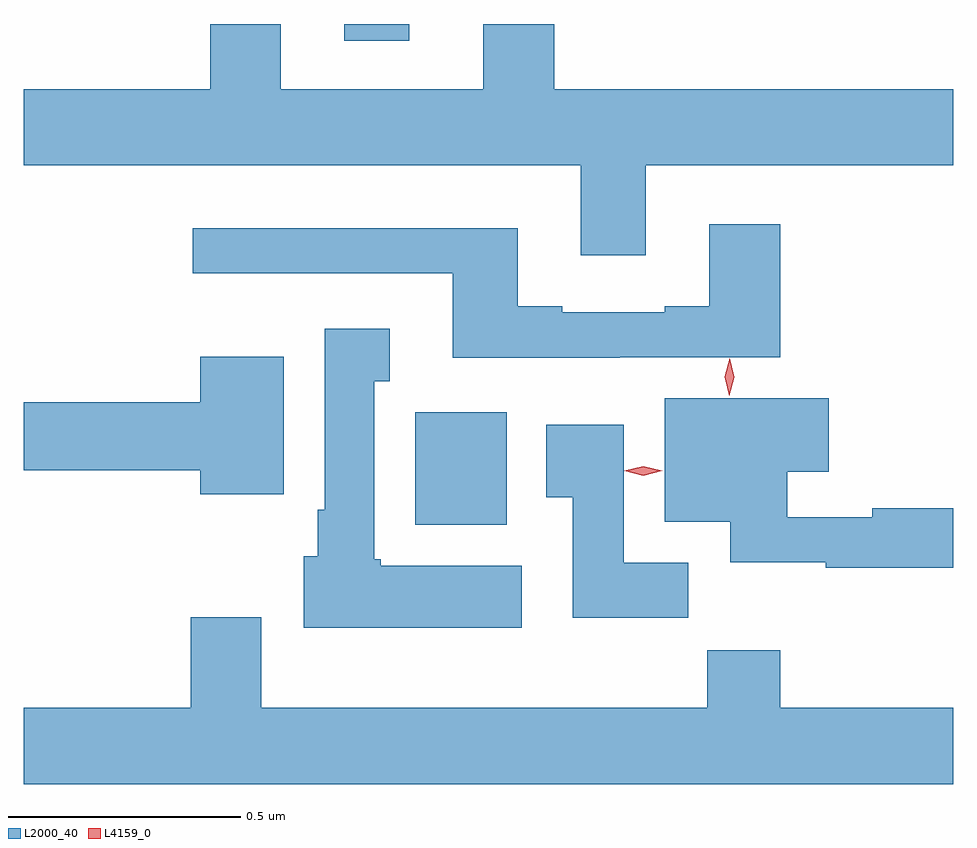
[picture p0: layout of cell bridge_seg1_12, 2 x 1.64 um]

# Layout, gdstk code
import gdstk
lib = gdstk.Library(unit=1e-6, precision=1e-09)
def R(c, l, rs):  # rectangles x0, y0, x1, y1
    for r in rs: c.add(gdstk.rectangle(r[:2], r[2:], *l))
def P(c, l, *ps):  # polygons
    for p in ps: c.add(gdstk.Polygon(p, *l))
L2000_40 = (2000, 40)
L4159_0 = (4159, 0)

bridge_seg1_12 = lib.new_cell('bridge_seg1_12')
R(bridge_seg1_12, L2000_40, [(790.958,558.95,791.155,559.192), (790.805,559.992,790.945,560.028)])
P(bridge_seg1_12, L2000_40, [(791.455,559.724),(792.116,559.724),(792.116,559.888),(791.258,559.888),(791.258,560.028),(791.105,560.028),(791.105,559.888),(790.669,559.888),(790.669,560.028),(790.517,560.028),(790.517,559.888),(790.116,559.888),(790.116,559.724),(791.315,559.724),(791.315,559.53),(791.455,559.53)],
  [(791.399,559.311),(791.744,559.311),(791.744,559.597),(791.591,559.597),(791.591,559.42),(791.495,559.42),(791.495,559.407),(791.275,559.407),(791.275,559.42),(791.179,559.42),(791.179,559.588),(790.479,559.588),(790.479,559.491),(791.039,559.491),(791.039,559.31),(791.399,559.31)],
  [(791.188,558.862),(790.884,558.862),(790.884,558.876),(790.87,558.876),(790.87,559.259),(790.903,559.259),(790.903,559.372),(790.763,559.372),(790.763,558.982),(790.748,558.982),(790.748,558.882),(790.718,558.882),(790.718,558.728),(791.188,558.728)],
  [(790.675,559.312),(790.496,559.312),(790.496,559.214),(790.116,559.214),(790.116,559.067),(790.496,559.067),(790.496,559.016),(790.675,559.016)],
  [(792.116,558.986),(791.942,558.986),(791.942,558.966),(791.759,558.966),(791.759,559.064),(791.848,559.064),(791.848,559.222),(791.495,559.222),(791.495,558.956),(791.636,558.956),(791.636,558.869),(791.842,558.869),(791.842,558.858),(792.116,558.858)],
  [(791.546,558.868),(791.407,558.868),(791.407,559.165),(791.24,559.165),(791.24,559.009),(791.297,559.009),(791.297,558.75),(791.546,558.75)],
  [(792.116,558.556),(791.744,558.556),(791.744,558.68),(791.587,558.68),(791.587,558.556),(790.627,558.556),(790.627,558.751),(790.475,558.751),(790.475,558.556),(790.116,558.556),(790.116,558.392),(792.116,558.392)])
P(bridge_seg1_12, L4159_0, [(791.634,559.228),(791.634,559.228),(791.625,559.269),(791.635,559.309),(791.635,559.309),(791.635,559.309),(791.645,559.268),(791.634,559.228)],
  [(791.449,559.056),(791.408,559.066),(791.408,559.066),(791.408,559.066),(791.449,559.076),(791.49,559.066),(791.49,559.066),(791.49,559.066)])

lib.write_gds('bridge_seg1_12.gds')
